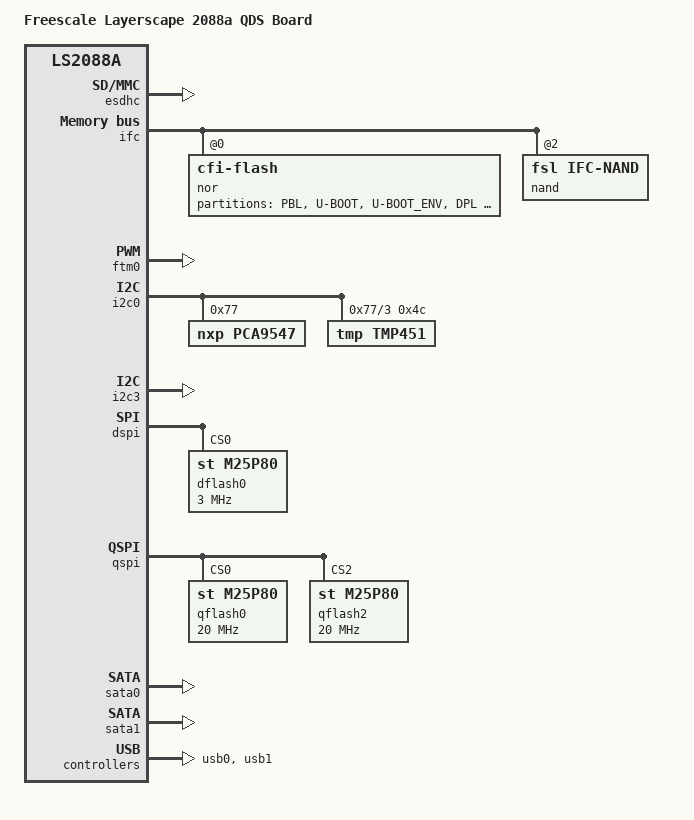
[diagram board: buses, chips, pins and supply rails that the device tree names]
/*
 * Device Tree file for Freescale LS2080a QDS Board
 *
 * Copyright (C) 2016, Freescale Semiconductor
 *
 * Abhimanyu Saini <abhimanyu.saini@nxp.com>
 *
 * This file is licensed under the terms of the GNU General Public
 * License version 2.  This program is licensed "as is" without any
 * warranty of any kind, whether express or implied.
 */

/dts-v1/;

#include "fsl-ls2088a.dtsi"

/ {
	model = "Freescale Layerscape 2088a QDS Board";
	compatible = "fsl,ls2088a-qds", "fsl,ls2088a";
};

&esdhc {
	mmc-hs200-1_8v;
	status = "okay";
};

&ifc {
	status = "okay";
	#address-cells = <2>;
	#size-cells = <1>;
	ranges = <0x0 0x0 0x5 0x80000000 0x08000000
		  0x2 0x0 0x5 0x30000000 0x00010000
		  0x3 0x0 0x5 0x20000000 0x00010000>;

	nor@0,0 {
	     #address-cells = <1>;
	     #size-cells = <1>;
	     compatible = "cfi-flash";
	     reg = <0x0 0x0 0x8000000>;
	     bank-width = <2>;
	     device-width = <1>;
              partition@0 {
                       label = "PBL";
                       reg = <0x00000 0x20000>;
               };

               partition@20000 {
                       label = "U-BOOT";
                       reg = <0x20000 0xA0000>;
               };

               partition@C0000 {
                       label = "U-BOOT_ENV";
                       reg = <0xC0000 0x20000>;
               };

               partition@E0000 {
                       label = "DPL";
                       reg = <0xE0000 0x20000>;
               };

               partition@100000 {
                       label = "DPC";
                       reg = <0x100000 0x20000>;
               };

               partition@120000 {
                       label = "MC";
                       reg = <0x120000 0x280000>;
               };

               partition@3A0000 {
                       label = "DTB";
                       reg = <0x3A0000 0x20000>;
               };

               partition@3C0000 {
                       label = "UIMAGE_INIC";
			           reg = <0x3C0000 0x880000>;
               };

               partition@C40000 {
                       label = "UIMAGE_ISSD";
			           reg = <0xC40000 0x880000>;
               };

               partition@14C0000 {
                       label = "ROOTFS";
			           reg = <0x14C0000 0x2140000>;
               };

               partition@3600000 {
                       label = "JFFS2";
			           reg = <0x3600000 0xA00000>;
               };

	           partition@4000000 {
                       label = "PBL_1";
                       reg = <0x4000000 0x20000>;
               };

               partition@4020000 {
                       label = "U-BOOT_1";
                       reg = <0x4020000 0xA0000>;
               };

               partition@40C0000 {
                       label = "U-BOOT_ENV_1";
                       reg = <0x40C0000 0x20000>;
               };

               partition@40E0000 {
                       label = "DPL_1";
                       reg = <0x40E0000 0x20000>;
               };

               partition@4100000 {
                       label = "DPC_1";
                       reg = <0x4100000 0x20000>;
               };

               partition@4120000 {
                       label = "MC_1";
                       reg = <0x4120000 0x280000>;
               };

               partition@43A0000 {
                       label = "DTB_1";
                       reg = <0x43A0000 0x20000>;
               };

               partition@43C0000 {
                       label = "UIMAGE_INIC_1";
			           reg = <0x43C0000 0x880000>;
               };

               partition@4C40000 {
                       label = "UIMAGE_ISSD_1";
			           reg = <0x4C40000 0x880000>;
               };

               partition@54C0000 {
                       label = "ROOTFS_1";
			           reg = <0x54C0000 0x2140000>;
               };

               partition@7600000 {
                       label = "JFFS2_1";
			           reg = <0x7600000 0xA00000>;
               };

	};

	nand@2,0 {
	     compatible = "fsl,ifc-nand";
	     reg = <0x2 0x0 0x10000>;
	};


};

&ftm0 {
	status = "okay";
};

&i2c0 {
	status = "okay";
	pca9547@77 {
		compatible = "nxp,pca9547";
		reg = <0x77>;
		#address-cells = <1>;
		#size-cells = <0>;
		i2c@0 {
			#address-cells = <1>;
			#size-cells = <0>;
			reg = <0x00>;
		};

		i2c@3 {
			#address-cells = <1>;
			#size-cells = <0>;
			reg = <0x3>;

			tmp451@4c {
				compatible = "tmp,tmp451";
				reg = <0x4c>;
			};
		};
	};
};

&i2c3 {
	status = "okay";
};

&dspi {
	status = "okay";
	dflash0: n25q128a {
		#address-cells = <1>;
		#size-cells = <1>;
		compatible = "st,m25p80";
		spi-max-frequency = <3000000>;
		reg = <0>;
	};
};

&qspi {
	status = "okay";
	qflash0: s25fs256s1@0 {
		#address-cells = <1>;
		#size-cells = <1>;
		compatible = "st,m25p80";
		spi-max-frequency = <20000000>;
		m25p,fast-read;
		reg = <0>;
	};

	qflash2: s25fs256s1@2 {
		#address-cells = <1>;
		#size-cells = <1>;
		compatible = "st,m25p80";
		spi-max-frequency = <20000000>;
		m25p,fast-read;
		reg = <2>;
	};
};

&sata0 {
	status = "okay";
};

&sata1 {
	status = "okay";
};

&usb0 {
	status = "okay";
};

&usb1 {
	status = "okay";
};

